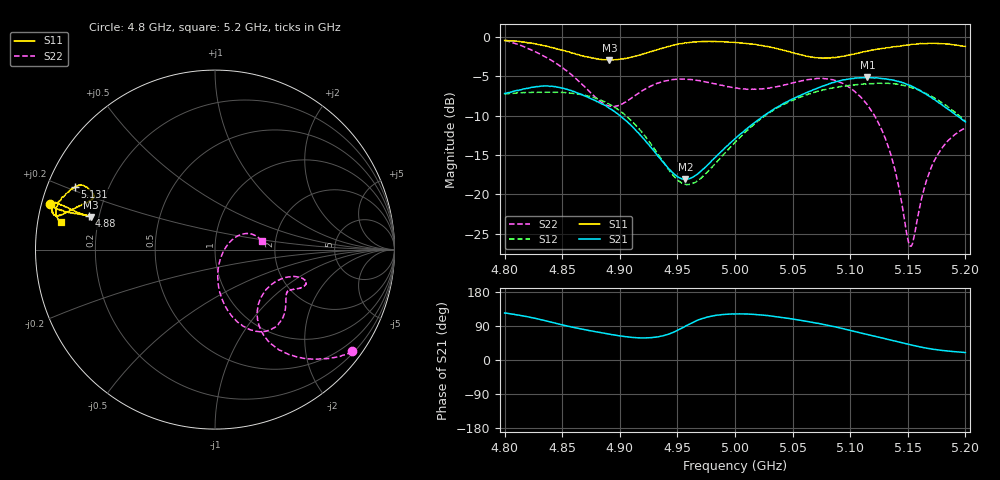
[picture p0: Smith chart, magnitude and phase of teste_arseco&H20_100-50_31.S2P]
! Network Analyzer HP8722D
! Hewlett-Packard
! Data name: Linha & Wilkinson
! Saver's name: Rodrigo Anjos
! Comments: Teste da utilização de aquisição
! continua pelo VNA HP8722D
! Time and date: 6/5/2025 12:49
!  Frequency  S11  S21  S12  S22
# HZ  S  MA R 50
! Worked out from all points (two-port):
!   401 points, 4.8 GHz to 5.2 GHz, reference 50 ohm
!   highest |S21| = -5.12 dB at 5.115 GHz (marker M1); lowest = -18.1 dB at 4.957 GHz (marker M2)
!   |S21| within 3 dB of the highest: start of sweep to 4.879 GHz; 5.047 GHz to 5.175 GHz (128.2 MHz wide, 2.51 % of centre)
!   lowest |S11| = -2.9 dB at 4.891 GHz (marker M3), VSWR 6.06, Z = 8.39 + j6.29 ohm
!   |S11| at or under -10 dB: nowhere
!   |S22| runs from -26.6 to -0.4 dB; largest |S21 - S12| = 0.71
!   S11 on the Smith chart (normalised r, x): 4.8 GHz: 0.02, +0.14; 4.88 GHz: 0.16, +0.13; 5.131 GHz: 0.08, +0.21; 5.2 GHz: 0.07, +0.09
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4.8e9  0.9532 164.4  0.4387 123.9  0.4354 19.0  0.9524 -36.6
4.834e9  0.8826 165.7  0.4896 104.6  0.4475 8.6  0.7583 -52.2
4.867e9  0.7612 165.2  0.432 81.4  0.4308 -5.3  0.5034 -60.1
4.88e9  0.7274 165.0  0.3894 74.1  0.4074 -12.5  0.4074 -54.5
4.891e9  0.7165 165.2  0.3521 68.2  0.3743 -19.6  0.3642 -42.5
4.911e9  0.7496 165.2  0.2694 59.6  0.2895 -30.5  0.4149 -22.6
4.934e9  0.8394 164.4  0.172 61.6  0.1772 -32.8  0.5122 -18.3
4.957e9  0.9224 163.7  0.1251 89.4  0.1159 -3.7  0.5415 -21.3
4.971e9  0.9382 164.2  0.1419 108.7  0.1278 19.8  0.5255 -23.8
5e9  0.9274 167.4  0.2259 121.6  0.2145 39.8  0.4754 -28.0
5.033e9  0.8564 166.2  0.346 115.4  0.3417 36.2  0.4792 -34.4
5.067e9  0.7476 158.6  0.4593 99.5  0.4412 21.8  0.5412 -47.6
5.092e9  0.7536 155.1  0.5302 83.9  0.4859 8.0  0.5139 -62.6
5.115e9  0.8159 154.0  0.5547 67.2  0.5049 -5.7  0.3706 -76.6
5.131e9  0.8567 155.8  0.5437 55.6  0.5085 -16.0  0.2218 -84.3
5.134e9  0.8557 156.4  0.5367 53.5  0.5078 -17.9  0.1919 -84.6
5.141e9  0.8747 158.0  0.5237 48.6  0.5025 -22.9  0.1222 -82.3
5.15e9  0.8899 160.2  0.4983 41.6  0.486 -28.9  0.05207 -48.5
5.153e9  0.8993 161.0  0.4893 39.6  0.4784 -31.1  0.04684 -19.0
5.164e9  0.9102 163.7  0.4413 32.7  0.4447 -37.8  0.1081 29.6
5.172e9  0.9151 165.5  0.4044 28.3  0.415 -42.0  0.1583 30.5
5.2e9  0.8732 169.9  0.2891 19.7  0.2917 -52.3  0.2645 10.2
